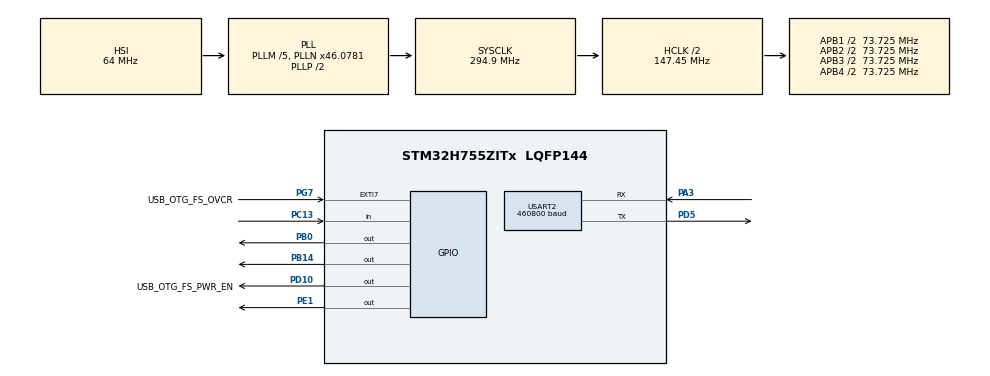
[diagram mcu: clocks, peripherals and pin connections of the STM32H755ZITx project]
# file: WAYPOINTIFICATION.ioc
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CortexM4.IPs=FATFS_M4\:I,FREERTOS_M4\:I,IWDG2\:I,RCC,WWDG2\:I,DMA,BDMA,MDMA,NVIC2\:I,ETH,USART3,DEBUG,PDM2PCM_M4\:I,PWR,RESMGR_UTILITY,SYS_M4\:I,USB_DEVICE_M4\:I,USB_HOST_M4\:I,CORTEX_M4\:I,GPIO,OPENAMP_M4\:I,VREFBUF,NUCLEO-H755ZI-Q
CortexM7.IPs=FATFS_M7\:I,FREERTOS_M7\:I,IWDG1\:I,RCC\:I,WWDG1\:I,DMA\:I,BDMA\:I,MDMA\:I,NVIC1\:I,ETH\:I,USART3\:I,USB_OTG_FS\:I,SYS\:I,CORTEX_M7\:I,DEBUG\:I,PDM2PCM_M7\:I,PWR\:I,RESMGR_UTILITY\:I,USB_DEVICE_M7\:I,USB_HOST_M7\:I,GPIO\:I,OPENAMP_M7\:I,VREFBUF\:I,NUCLEO-H755ZI-Q\:I,MEMORYMAP\:I,USART2\:I
Dma.Request0=USART2_RX
Dma.USART2_RX.0.Direction=DMA_PERIPH_TO_MEMORY
Dma.USART2_RX.0.EventEnable=DISABLE
Dma.USART2_RX.0.FIFOMode=DMA_FIFOMODE_DISABLE
Dma.USART2_RX.0.Instance=DMA1_Stream0
Dma.USART2_RX.0.MemDataAlignment=DMA_MDATAALIGN_BYTE
Dma.USART2_RX.0.MemInc=DMA_MINC_ENABLE
Dma.USART2_RX.0.Mode=DMA_CIRCULAR
Dma.USART2_RX.0.PeriphDataAlignment=DMA_PDATAALIGN_BYTE
Dma.USART2_RX.0.PeriphInc=DMA_PINC_DISABLE
Dma.USART2_RX.0.Polarity=HAL_DMAMUX_REQ_GEN_RISING
Dma.USART2_RX.0.Priority=DMA_PRIORITY_LOW
Dma.USART2_RX.0.RequestNumber=1
Dma.USART2_RX.0.SignalID=NONE
Dma.USART2_RX.0.SyncEnable=DISABLE
Dma.USART2_RX.0.SyncPolarity=HAL_DMAMUX_SYNC_NO_EVENT
Dma.USART2_RX.0.SyncRequestNumber=1
Dma.USART2_RX.0.SyncSignalID=NONE
FREERTOS_M4.Tasks01=defaultTask,24,128,StartDefaultTask,Default,NULL,Dynamic,NULL,NULL
FREERTOS_M7.Tasks01=defaultTask,24,128,StartDefaultTask,Default,NULL,Dynamic,NULL,NULL
Mcu.Family=STM32H7
Mcu.Name=STM32H755ZITx
Mcu.Package=LQFP144
NUCLEO-H755ZI-Q.BUTTON=1
NUCLEO-H755ZI-Q.LD1=true
NUCLEO-H755ZI-Q.LD2=true
NUCLEO-H755ZI-Q.LD3=true
NUCLEO-H755ZI-Q.VCP=true
NVIC1.DMA1_Stream0_IRQn=true\:5\:0\:false\:false\:true\:true\:false\:true\:true
NVIC1.EXTI15_10_IRQn=true\:5\:0\:false\:false\:true\:true\:false\:true\:true
NVIC1.PriorityGroup=NVIC_PRIORITYGROUP_4
NVIC1.USART2_IRQn=true\:5\:0\:false\:false\:true\:true\:true\:true\:true
NVIC2.PriorityGroup=NVIC_PRIORITYGROUP_4
PA1.PinAttribute=CortexM7
PA1.Signal=ETH_REF_CLK
PA11.PinAttribute=CortexM7
PA11.Signal=USB_OTG_FS_DM
PA12.PinAttribute=CortexM7
PA12.Signal=USB_OTG_FS_DP
PA2.PinAttribute=CortexM7
PA2.Signal=ETH_MDIO
PA3.Mode=Asynchronous
PA3.PinAttribute=CortexM7
PA3.Signal=USART2_RX
PA7.PinAttribute=CortexM7
PA7.Signal=ETH_CRS_DV
PA8.PinAttribute=CortexM7
PA8.Signal=USB_OTG_FS_SOF
PA9.PinAttribute=CortexM7
PA9.Signal=USB_OTG_FS_VBUS
PB0.Signal=GPIO_Output
PB13.PinAttribute=CortexM7
PB13.Signal=ETH_TXD1
PB14.Signal=GPIO_Output
PC1.PinAttribute=CortexM7
PC1.Signal=ETH_MDC
PC13.Signal=GPIO_Input
PC14-OSC32_IN\ (OSC32_IN).PinAttribute=Free
PC14-OSC32_IN\ (OSC32_IN).Signal=RCC_OSC32_IN
PC15-OSC32_OUT\ (OSC32_OUT).PinAttribute=Free
PC15-OSC32_OUT\ (OSC32_OUT).Signal=RCC_OSC32_OUT
PC4.PinAttribute=CortexM7
PC4.Signal=ETH_RXD0
PC5.PinAttribute=CortexM7
PC5.Signal=ETH_RXD1
PD10.GPIO_Label=USB_OTG_FS_PWR_EN
PD10.PinAttribute=Free
PD10.Signal=GPIO_Output
PD5.Mode=Asynchronous
PD5.PinAttribute=CortexM7
PD5.Signal=USART2_TX
PD8.Signal=USART3_TX
PD9.Signal=USART3_RX
PE1.Signal=GPIO_Output
PG11.PinAttribute=CortexM7
PG11.Signal=ETH_TX_EN
PG13.PinAttribute=CortexM7
PG13.Signal=ETH_TXD0
PG7.GPIO_Label=USB_OTG_FS_OVCR
PG7.PinAttribute=Free
PG7.Signal=GPXTI7
PH0-OSC_IN\ (PH0).PinAttribute=Free
PH0-OSC_IN\ (PH0).Signal=RCC_OSC_IN
PH1-OSC_OUT\ (PH1).PinAttribute=Free
PH1-OSC_OUT\ (PH1).Signal=RCC_OSC_OUT
ProjectManager.HeapSize=M4-0x200,M7-0x200
ProjectManager.StackSize=M4-0x400,M7-0x400
ProjectManager.TargetToolchain=STM32CubeIDE
RCC.ADCFreq_Value=129000000
RCC.APB1Freq_Value=73725000
RCC.APB2Freq_Value=73725000
RCC.APB3Freq_Value=73725000
RCC.APB4Freq_Value=73725000
RCC.CortexFreq_Value=294900000
RCC.D1PPRE=RCC_APB3_DIV2
RCC.D2PPRE1=RCC_APB1_DIV2
RCC.D2PPRE2=RCC_APB2_DIV2
RCC.D3PPRE=RCC_APB4_DIV2
RCC.DIVM1=5
RCC.DIVN1=46
RCC.DIVQ1=5
RCC.HCLKFreq_Value=147450000
RCC.HPRE=RCC_HCLK_DIV2
RCC.PLL2FRACN=0
RCC.PLL3FRACN=0
RCC.PLLFRACN=640
RCC.SYSCLKFreq_VALUE=294900000
RCC.SYSCLKSource=RCC_SYSCLKSOURCE_PLLCLK
RCC.SupplySource=PWR_DIRECT_SMPS_SUPPLY
RCC.USBFreq_Value=117960000
USART2.BaudRate=460800
USART2.OverSampling=UART_OVERSAMPLING_16
USART2.VirtualMode-Asynchronous=VM_ASYNC
VP_FREERTOS_M4_VS_CMSIS_V2.Mode=CMSIS_V2
VP_FREERTOS_M7_VS_CMSIS_V2.Mode=CMSIS_V2
VP_MEMORYMAP_VS_MEMORYMAP.Mode=CurAppReg
VP_NUCLEO-H755ZI-Q_VS_BSP_COMMON.Mode=COMMON
VP_SYS_M4_VS_Systick.Mode=SysTick
board=NUCLEO-H755ZI-Q

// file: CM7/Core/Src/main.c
/* USER CODE BEGIN Header */
/**
  ******************************************************************************
  * @file           : main.c
  * @brief          : Main program body
  ******************************************************************************
  * @attention
  *
  * Copyright (c) 2025 STMicroelectronics.
  * All rights reserved.
  *
  * This software is licensed under terms that can be found in the LICENSE file
  * in the root directory of this software component.
  * If no LICENSE file comes with this software, it is provided AS-IS.
  *
  ******************************************************************************
  */
/* USER CODE END Header */
#include "main.h"
#include "cmsis_os.h"

/* USER CODE BEGIN Includes */
#include <stdlib.h>
#include "stdio.h"
#include "string.h"
#include "FreeRTOS.h"
#include "task.h"
#include <stdbool.h>
#include "shared_mem.h"
#include <math.h>
/* USER CODE END Includes */

/* USER CODE BEGIN PTD */
#include "rplidar_parser.h"
static uint8_t rx_byte;
/* USER CODE END PTD */

/* USER CODE BEGIN PD */
/* DUAL_CORE_BOOT_SYNC_SEQUENCE: Define for dual core boot synchronization    */
/*                             demonstration code based on hardware semaphore */
/* This define is present in both CM7/CM4 projects                            */
/* To comment when developping/debugging on a single core                     */
#define DUAL_CORE_BOOT_SYNC_SEQUENCE

#if defined(DUAL_CORE_BOOT_SYNC_SEQUENCE)
#ifndef HSEM_ID_0
#define HSEM_ID_0 (0U) /* HW semaphore 0*/
#endif
#endif /* DUAL_CORE_BOOT_SYNC_SEQUENCE */

/* USER CODE END PD */

COM_InitTypeDef BspCOMInit;

UART_HandleTypeDef huart2;
DMA_HandleTypeDef hdma_usart2_rx;

/* Definitions for defaultTask */
osThreadId_t defaultTaskHandle;
const osThreadAttr_t defaultTask_attributes = {
  .name = "defaultTask",
  .stack_size = 3028 * 4,
  .priority = (osPriority_t) osPriorityNormal,
};

void SystemClock_Config(void);
static void MX_GPIO_Init(void);
static void MX_DMA_Init(void);
static void MX_USART2_UART_Init(void);
void StartDefaultTask(void *argument);

/* USER CODE BEGIN 0 */
#define DMA_BUF_SIZE 500
uint8_t dma_rx_buf[DMA_BUF_SIZE];
/* USER CODE END 0 */

int main(void)
{

/* USER CODE BEGIN Boot_Mode_Sequence_0 */
#if defined(DUAL_CORE_BOOT_SYNC_SEQUENCE)
  int32_t timeout;
#endif /* DUAL_CORE_BOOT_SYNC_SEQUENCE */
/* USER CODE END Boot_Mode_Sequence_0 */

/* USER CODE BEGIN Boot_Mode_Sequence_1 */
#if defined(DUAL_CORE_BOOT_SYNC_SEQUENCE)
  /* Wait until CPU2 boots and enters in stop mode or timeout*/
  timeout = 0xFFFF;
  while((__HAL_RCC_GET_FLAG(RCC_FLAG_D2CKRDY) != RESET) && (timeout-- > 0));
  if ( timeout < 0 )
  {
  Error_Handler();
  }
#endif /* DUAL_CORE_BOOT_SYNC_SEQUENCE */
/* USER CODE END Boot_Mode_Sequence_1 */
  /* MCU Configuration--------------------------------------------------------*/

  /* Reset of all peripherals, Initializes the Flash interface and the Systick. */
  HAL_Init();

  /* Configure the system clock */
  SystemClock_Config();
/* USER CODE BEGIN Boot_Mode_Sequence_2 */
#if defined(DUAL_CORE_BOOT_SYNC_SEQUENCE)
/* When system initialization is finished, Cortex-M7 will release Cortex-M4 by means of
HSEM notification */
/*HW semaphore Clock enable*/
__HAL_RCC_HSEM_CLK_ENABLE();
/*Take HSEM */
HAL_HSEM_FastTake(HSEM_ID_0);
/*Release HSEM in order to notify the CPU2(CM4)*/
HAL_HSEM_Release(HSEM_ID_0,0);
/* wait until CPU2 wakes up from stop mode */
timeout = 0xFFFF;
while((__HAL_RCC_GET_FLAG(RCC_FLAG_D2CKRDY) == RESET) && (timeout-- > 0));
if ( timeout < 0 )
{
Error_Handler();
}
#endif /* DUAL_CORE_BOOT_SYNC_SEQUENCE */
/* USER CODE END Boot_Mode_Sequence_2 */

  /* Initialize all configured peripherals */
  MX_GPIO_Init();
  MX_DMA_Init();
  MX_USART2_UART_Init();

  /* Init scheduler */
  osKernelInitialize();

  /* Create the thread(s) */
  /* creation of defaultTask */
  defaultTaskHandle = osThreadNew(StartDefaultTask, NULL, &defaultTask_attributes);

  /* Initialize leds */
  BSP_LED_Init(LED_GREEN);
  BSP_LED_Init(LED_YELLOW);
  BSP_LED_Init(LED_RED);

  /* Initialize USER push-button, will be used to trigger an interrupt each time it's pressed.*/
  BSP_PB_Init(BUTTON_USER, BUTTON_MODE_EXTI);

  /* Initialize COM1 port (115200, 8 bits (7-bit data + 1 stop bit), no parity */
  BspCOMInit.BaudRate   = 460800;
  BspCOMInit.WordLength = COM_WORDLENGTH_8B;
  BspCOMInit.StopBits   = COM_STOPBITS_1;
  BspCOMInit.Parity     = COM_PARITY_NONE;
  BspCOMInit.HwFlowCtl  = COM_HWCONTROL_NONE;
  if (BSP_COM_Init(COM1, &BspCOMInit) != BSP_ERROR_NONE)
  {
    Error_Handler();
  }

  /* Start scheduler */
  osKernelStart();

  /* We should never get here as control is now taken by the scheduler */

  /* Infinite loop */
  while (1)
  {

  }
}

void SystemClock_Config(void)
{
  RCC_OscInitTypeDef RCC_OscInitStruct = {0};
  RCC_ClkInitTypeDef RCC_ClkInitStruct = {0};

  /** Supply configuration update enable
  */
  HAL_PWREx_ConfigSupply(PWR_DIRECT_SMPS_SUPPLY);

  /** Configure the main internal regulator output voltage
  */
  __HAL_PWR_VOLTAGESCALING_CONFIG(PWR_REGULATOR_VOLTAGE_SCALE2);

  while(!__HAL_PWR_GET_FLAG(PWR_FLAG_VOSRDY)) {}

  /** Initializes the RCC Oscillators according to the specified parameters
  * in the RCC_OscInitTypeDef structure.
  */
  RCC_OscInitStruct.OscillatorType = RCC_OSCILLATORTYPE_HSI;
  RCC_OscInitStruct.HSIState = RCC_HSI_DIV1;
  RCC_OscInitStruct.HSICalibrationValue = RCC_HSICALIBRATION_DEFAULT;
  RCC_OscInitStruct.PLL.PLLState = RCC_PLL_ON;
  RCC_OscInitStruct.PLL.PLLSource = RCC_PLLSOURCE_HSI;
  RCC_OscInitStruct.PLL.PLLM = 5;
  RCC_OscInitStruct.PLL.PLLN = 46;
  RCC_OscInitStruct.PLL.PLLP = 2;
  RCC_OscInitStruct.PLL.PLLQ = 5;
  RCC_OscInitStruct.PLL.PLLR = 2;
  RCC_OscInitStruct.PLL.PLLRGE = RCC_PLL1VCIRANGE_3;
  RCC_OscInitStruct.PLL.PLLVCOSEL = RCC_PLL1VCOWIDE;
  RCC_OscInitStruct.PLL.PLLFRACN = 640;
  if (HAL_RCC_OscConfig(&RCC_OscInitStruct) != HAL_OK)
  {
    Error_Handler();
  }

  /** Initializes the CPU, AHB and APB buses clocks
  */
  RCC_ClkInitStruct.ClockType = RCC_CLOCKTYPE_HCLK|RCC_CLOCKTYPE_SYSCLK
                              |RCC_CLOCKTYPE_PCLK1|RCC_CLOCKTYPE_PCLK2
                              |RCC_CLOCKTYPE_D3PCLK1|RCC_CLOCKTYPE_D1PCLK1;
  RCC_ClkInitStruct.SYSCLKSource = RCC_SYSCLKSOURCE_PLLCLK;
  RCC_ClkInitStruct.SYSCLKDivider = RCC_SYSCLK_DIV1;
  RCC_ClkInitStruct.AHBCLKDivider = RCC_HCLK_DIV2;
  RCC_ClkInitStruct.APB3CLKDivider = RCC_APB3_DIV2;
  RCC_ClkInitStruct.APB1CLKDivider = RCC_APB1_DIV2;
  RCC_ClkInitStruct.APB2CLKDivider = RCC_APB2_DIV2;
  RCC_ClkInitStruct.APB4CLKDivider = RCC_APB4_DIV2;

  if (HAL_RCC_ClockConfig(&RCC_ClkInitStruct, FLASH_LATENCY_2) != HAL_OK)
  {
    Error_Handler();
  }
}

static void MX_USART2_UART_Init(void)
{

  huart2.Instance = USART2;
  huart2.Init.BaudRate = 460800;
  huart2.Init.WordLength = UART_WORDLENGTH_8B;
  huart2.Init.StopBits = UART_STOPBITS_1;
  huart2.Init.Parity = UART_PARITY_NONE;
  huart2.Init.Mode = UART_MODE_TX_RX;
  huart2.Init.HwFlowCtl = UART_HWCONTROL_NONE;
  huart2.Init.OverSampling = UART_OVERSAMPLING_16;
  huart2.Init.OneBitSampling = UART_ONE_BIT_SAMPLE_DISABLE;
  huart2.Init.ClockPrescaler = UART_PRESCALER_DIV1;
  huart2.AdvancedInit.AdvFeatureInit = UART_ADVFEATURE_NO_INIT;
  if (HAL_UART_Init(&huart2) != HAL_OK)
  {
    Error_Handler();
  }
  if (HAL_UARTEx_SetTxFifoThreshold(&huart2, UART_TXFIFO_THRESHOLD_1_8) != HAL_OK)
  {
    Error_Handler();
  }
  if (HAL_UARTEx_SetRxFifoThreshold(&huart2, UART_RXFIFO_THRESHOLD_1_8) != HAL_OK)
  {
    Error_Handler();
  }
  if (HAL_UARTEx_DisableFifoMode(&huart2) != HAL_OK)
  {
    Error_Handler();
  }

}

static void MX_DMA_Init(void)
{

  /* DMA controller clock enable */
  __HAL_RCC_DMA1_CLK_ENABLE();

  /* DMA interrupt init */
  /* DMA1_Stream0_IRQn interrupt configuration */
  HAL_NVIC_SetPriority(DMA1_Stream0_IRQn, 5, 0);
  HAL_NVIC_EnableIRQ(DMA1_Stream0_IRQn);

}

static void MX_GPIO_Init(void)
{
  GPIO_InitTypeDef GPIO_InitStruct = {0};

  /* GPIO Ports Clock Enable */
  __HAL_RCC_GPIOC_CLK_ENABLE();
  __HAL_RCC_GPIOA_CLK_ENABLE();
  __HAL_RCC_GPIOB_CLK_ENABLE();
  __HAL_RCC_GPIOD_CLK_ENABLE();
  __HAL_RCC_GPIOG_CLK_ENABLE();

  /*Configure GPIO pins : PC1 PC4 PC5 */
  GPIO_InitStruct.Pin = GPIO_PIN_1|GPIO_PIN_4|GPIO_PIN_5;
  GPIO_InitStruct.Mode = GPIO_MODE_AF_PP;
  GPIO_InitStruct.Pull = GPIO_NOPULL;
  GPIO_InitStruct.Speed = GPIO_SPEED_FREQ_LOW;
  GPIO_InitStruct.Alternate = GPIO_AF11_ETH;
  HAL_GPIO_Init(GPIOC, &GPIO_InitStruct);

  /*Configure GPIO pins : PA1 PA2 PA7 */
  GPIO_InitStruct.Pin = GPIO_PIN_1|GPIO_PIN_2|GPIO_PIN_7;
  GPIO_InitStruct.Mode = GPIO_MODE_AF_PP;
  GPIO_InitStruct.Pull = GPIO_NOPULL;
  GPIO_InitStruct.Speed = GPIO_SPEED_FREQ_LOW;
  GPIO_InitStruct.Alternate = GPIO_AF11_ETH;
  HAL_GPIO_Init(GPIOA, &GPIO_InitStruct);

  /*Configure GPIO pin : PB13 */
  GPIO_InitStruct.Pin = GPIO_PIN_13;
  GPIO_InitStruct.Mode = GPIO_MODE_AF_PP;
  GPIO_InitStruct.Pull = GPIO_NOPULL;
  GPIO_InitStruct.Speed = GPIO_SPEED_FREQ_LOW;
  GPIO_InitStruct.Alternate = GPIO_AF11_ETH;
  HAL_GPIO_Init(GPIOB, &GPIO_InitStruct);

  /*Configure GPIO pins : PA8 PA11 PA12 */
  GPIO_InitStruct.Pin = GPIO_PIN_8|GPIO_PIN_11|GPIO_PIN_12;
  GPIO_InitStruct.Mode = GPIO_MODE_AF_PP;
  GPIO_InitStruct.Pull = GPIO_NOPULL;
  GPIO_InitStruct.Speed = GPIO_SPEED_FREQ_LOW;
  GPIO_InitStruct.Alternate = GPIO_AF10_OTG1_FS;
  HAL_GPIO_Init(GPIOA, &GPIO_InitStruct);

  /*Configure GPIO pins : PG11 PG13 */
  GPIO_InitStruct.Pin = GPIO_PIN_11|GPIO_PIN_13;
  GPIO_InitStruct.Mode = GPIO_MODE_AF_PP;
  GPIO_InitStruct.Pull = GPIO_NOPULL;
  GPIO_InitStruct.Speed = GPIO_SPEED_FREQ_LOW;
  GPIO_InitStruct.Alternate = GPIO_AF11_ETH;
  HAL_GPIO_Init(GPIOG, &GPIO_InitStruct);

}

/* USER CODE BEGIN 4 */
int _write(int file, char *ptr, int len) {
    HAL_UART_Transmit(&hcom_uart[COM1], (uint8_t*)ptr, len, HAL_MAX_DELAY);
    return len;
}
int startstop = 0;
const uint8_t start_cmd[] = {0xA5, 0x20};  // legacy scan start
const uint8_t motor_speed_cmd[] = {
    0xA5,       // start flag
    0xA8,       // MOTOR_SPEED_CTRL
    0x02,       // payload length
	0x58, 0x02, // RPM = 300
    0x87        // checksum = 0xA8 ^ 0x02 ^ 0x2C ^ 0x01
};

const uint8_t stop_cmd[]  = {0xA5, 0x25};  // stop
const uint8_t health_cmd[]  = {0xA5, 0x52};  // health
const uint8_t info_cmd[]  = {0xA5, 0x50};  // info

void BSP_PB_Callback(Button_TypeDef Button)
{
    if (Button == BUTTON_USER)
    {
    	if (startstop == 0)
    	{
    		BSP_LED_Toggle(LED_RED);
    	    // Send start scan
    		rplidar_parser_init();
	        SCB_InvalidateDCache_by_Addr((uint32_t*)dma_rx_buf, DMA_BUF_SIZE);
    	    HAL_UART_Receive_DMA(&huart2, dma_rx_buf, DMA_BUF_SIZE);
            HAL_UART_Transmit(&huart2, (uint8_t*)start_cmd, sizeof(start_cmd), HAL_MAX_DELAY);
    	    startstop = 1;
    	}
    	else if (startstop == 1)
    	{
    		BSP_LED_Toggle(LED_RED);
    		//HAL_UART_Transmit(&huart2, (uint8_t*)motor_speed_cmd, sizeof(motor_speed_cmd), HAL_MAX_DELAY);
			// Send stop scan
			HAL_UART_Transmit(&huart2, (uint8_t*)stop_cmd, sizeof(stop_cmd), HAL_MAX_DELAY);
    	    startstop = 0;
    	}
    }
}
#define buffasize DMA_BUF_SIZE
uint8_t buffa[buffasize];
static int header = 0;
static const uint8_t header_bytes[7] = {
    0xA5, 0x5A, 0x05, 0x00, 0x00, 0x40, 0x81
};
static int i = 0;
// Called when the DMA buffer has been completely filled
void HAL_UART_RxCpltCallback(UART_HandleTypeDef *huart)
{
    if (huart == &huart2)
    {
		SCB_InvalidateDCache_by_Addr((uint32_t*)dma_rx_buf, DMA_BUF_SIZE);
		memcpy(buffa, dma_rx_buf, buffasize);
		if (!header)
		{

			for (int j = 7; j < buffasize; j++)
			{
				rplidar_parser_feed(buffa[j]);
			}
			header = 1;
		}
		else
		{
			for (int j = 0; j < buffasize; j++)
				rplidar_parser_feed(buffa[j]);
		}
    }
}

static LidarPoint_t pts[RPLIDAR_MAX_POINTS];
/* USER CODE END 4 */

void StartDefaultTask(void *argument)
{
  /* USER CODE BEGIN 5 */
	int count = 0;
	/*
	SHARED_MEM->flag = 0;
	SCB_CleanDCache_by_Addr((uint32_t*)SHARED_MEM, sizeof(*SHARED_MEM));
	__DSB();
	*/
  /* Infinite loop */
  for(;;)
  {
	  /*
	SCB_InvalidateDCache_by_Addr((uint32_t*)SHARED_MEM, sizeof(*SHARED_MEM));
	if (SHARED_MEM->flag)
	{
	  BSP_LED_Toggle(LED_RED);

	  SCB_InvalidateDCache_by_Addr((uint32_t*)SHARED_MEM, sizeof(*SHARED_MEM));
	  for (int i = 0; i < 16; ++i)
		printf("Got: %f\n", SHARED_MEM->buffer[i]);
	  osDelay(5500);
	  SHARED_MEM->flag = 0;
	  SCB_CleanDCache_by_Addr((uint32_t*)SHARED_MEM, sizeof(*SHARED_MEM));
	  __DSB();
	}
	*/
	  if (startstop)
	  {
		uint16_t     cnt;
		rplidar_parser_get_scan(pts, &cnt);

		// print every point's X, Y
		for (uint16_t i = 0; i < cnt; i++)
		{
			printf("(%.2f, %.2f),\n",pts[i].x,pts[i].y);
		}
	  }

		osDelay(1000);
  }
  /* USER CODE END 5 */
}

void Error_Handler(void)
{
  __disable_irq();
  while (1)
  {
  }
}
